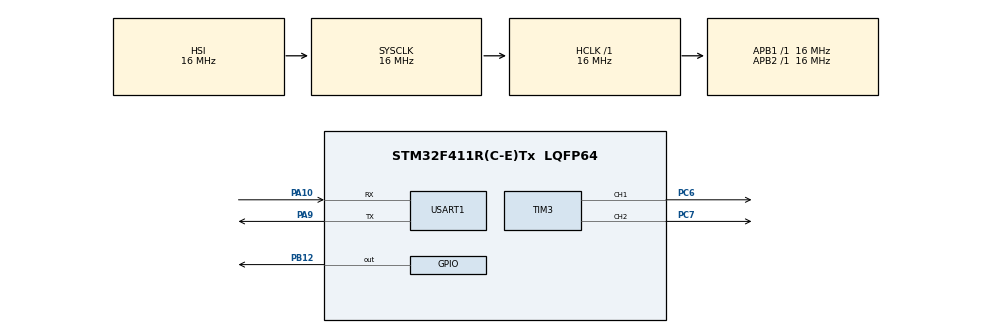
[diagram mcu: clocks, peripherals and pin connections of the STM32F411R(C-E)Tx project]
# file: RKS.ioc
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Mcu.Family=STM32F4
Mcu.Name=STM32F411R(C-E)Tx
Mcu.Package=LQFP64
NVIC.PriorityGroup=NVIC_PRIORITYGROUP_4
NVIC.USART1_IRQn=true\:0\:0\:false\:false\:true\:true\:true\:true
PA10.Mode=Asynchronous
PA10.Signal=USART1_RX
PA9.Mode=Asynchronous
PA9.Signal=USART1_TX
PB12.GPIO_Speed=GPIO_SPEED_FREQ_VERY_HIGH
PB12.Signal=GPIO_Output
PC6.GPIO_Speed=GPIO_SPEED_FREQ_VERY_HIGH
PC6.Signal=S_TIM3_CH1
PC7.GPIO_Speed=GPIO_SPEED_FREQ_VERY_HIGH
PC7.Signal=S_TIM3_CH2
ProjectManager.HeapSize=0x200
ProjectManager.StackSize=0x400
ProjectManager.TargetToolchain=STM32CubeIDE
RCC.AHBFreq_Value=16000000
RCC.APB1Freq_Value=16000000
RCC.APB2Freq_Value=16000000
RCC.CortexFreq_Value=16000000
RCC.HSE_VALUE=25000000
RCC.HSI_VALUE=16000000
RCC.LSE_VALUE=32768
RCC.SYSCLKFreq_VALUE=16000000
RCC.VCOOutputFreq_Value=192000000
SH.S_TIM3_CH1.0=TIM3_CH1,PWM Generation1 CH1
SH.S_TIM3_CH2.0=TIM3_CH2,PWM Generation2 CH2
TIM3.Channel-PWM\ Generation1\ CH1=TIM_CHANNEL_1
TIM3.Channel-PWM\ Generation2\ CH2=TIM_CHANNEL_2
USART1.VirtualMode=VM_ASYNC
VP_TIM3_VS_ClockSourceINT.Mode=Internal
board=custom

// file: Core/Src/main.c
/* USER CODE BEGIN Header */
/**
  ******************************************************************************
  * @file           : main.c
  * @brief          : Main program body
  ******************************************************************************
  * @attention
  *
  * Copyright (c) 2025 STMicroelectronics.
  * All rights reserved.
  *
  * This software is licensed under terms that can be found in the LICENSE file
  * in the root directory of this software component.
  * If no LICENSE file comes with this software, it is provided AS-IS.
  *
  ******************************************************************************
  */
/* USER CODE END Header */
#include "main.h"

/* USER CODE BEGIN Includes */
#include "stdio.h"
#include "stdint.h"

#include "message_handl.h"
#include "circle_buffer.h"
#include "command_handl.h"
/* USER CODE END Includes */

/* USER CODE BEGIN PTD */
typedef struct {
    Package command;
    const char *name;
    uint32_t (*func) (uint8_t *data);
    uint8_t count_byte_answer;
    const char *description;
} StructCommand;
/* USER CODE END PTD */

/* USER CODE BEGIN PM */
#define NUMBER_OF_COMMANDS 6
/* USER CODE END PM */

TIM_HandleTypeDef htim3;

UART_HandleTypeDef huart1;

/* USER CODE BEGIN PV */
uint8_t is_message_start_rec = 0;
uint8_t is_message_stop_rec = 0;
uint8_t data_buffer[512] = {0};
CircleBuffer buffer;
uint16_t data = 0;
/* USER CODE END PV */

void SystemClock_Config(void);
static void MX_GPIO_Init(void);
static void MX_TIM3_Init(void);
static void MX_USART1_UART_Init(void);
/* USER CODE BEGIN PFP */
void HandleRecivedData();
/* USER CODE END PFP */

/* USER CODE BEGIN 0 */
StructCommand commands_array[NUMBER_OF_COMMANDS] = {
    {SETPIN,    "SetPin",   SetPin,     0,  "Setpin 1 if data = 11"},
    {SETPWM50_100, "SetPWM",   SetPWM,  0,  "SetStrobe for 50ms at pin x"},
    {SETPWMX,       "SetPWMX",  SetPWMX,    0,  "SetStrobe for xms at pin x"}
};
/* USER CODE END 0 */

int main(void)
{

  /* MCU Configuration--------------------------------------------------------*/

  /* Reset of all peripherals, Initializes the Flash interface and the Systick. */
   HAL_Init();

  /* Configure the system clock */
  SystemClock_Config();

  /* Initialize all configured peripherals */
  MX_GPIO_Init();
  MX_TIM3_Init();
  MX_USART1_UART_Init();
  /* USER CODE BEGIN 2 */
  //InitMCU();
  ConstructCircleBuffer(&buffer, data_buffer, sizeof(data_buffer) / sizeof(data_buffer[0]));
  /* USER CODE END 2 */

  /* Infinite loop */
  /* USER CODE BEGIN WHILE */
  HAL_UART_Receive_IT(&huart1, (uint8_t*)&data, 1);
  while (1)
  {
	if(is_message_stop_rec)
	{
		is_message_stop_rec = 0;
		HandleRecivedData();
	}
    /* USER CODE END WHILE */

  }
}

void SystemClock_Config(void)
{
  RCC_OscInitTypeDef RCC_OscInitStruct = {0};
  RCC_ClkInitTypeDef RCC_ClkInitStruct = {0};

  /** Configure the main internal regulator output voltage
  */
  __HAL_RCC_PWR_CLK_ENABLE();
  __HAL_PWR_VOLTAGESCALING_CONFIG(PWR_REGULATOR_VOLTAGE_SCALE1);

  /** Initializes the RCC Oscillators according to the specified parameters
  * in the RCC_OscInitTypeDef structure.
  */
  RCC_OscInitStruct.OscillatorType = RCC_OSCILLATORTYPE_HSI;
  RCC_OscInitStruct.HSIState = RCC_HSI_ON;
  RCC_OscInitStruct.HSICalibrationValue = RCC_HSICALIBRATION_DEFAULT;
  RCC_OscInitStruct.PLL.PLLState = RCC_PLL_NONE;
  if (HAL_RCC_OscConfig(&RCC_OscInitStruct) != HAL_OK)
  {
    Error_Handler();
  }

  /** Initializes the CPU, AHB and APB buses clocks
  */
  RCC_ClkInitStruct.ClockType = RCC_CLOCKTYPE_HCLK|RCC_CLOCKTYPE_SYSCLK
                              |RCC_CLOCKTYPE_PCLK1|RCC_CLOCKTYPE_PCLK2;
  RCC_ClkInitStruct.SYSCLKSource = RCC_SYSCLKSOURCE_HSI;
  RCC_ClkInitStruct.AHBCLKDivider = RCC_SYSCLK_DIV1;
  RCC_ClkInitStruct.APB1CLKDivider = RCC_HCLK_DIV1;
  RCC_ClkInitStruct.APB2CLKDivider = RCC_HCLK_DIV1;

  if (HAL_RCC_ClockConfig(&RCC_ClkInitStruct, FLASH_LATENCY_0) != HAL_OK)
  {
    Error_Handler();
  }
}

static void MX_TIM3_Init(void)
{

  TIM_ClockConfigTypeDef sClockSourceConfig = {0};
  TIM_MasterConfigTypeDef sMasterConfig = {0};
  TIM_OC_InitTypeDef sConfigOC = {0};

  htim3.Instance = TIM3;
  htim3.Init.Prescaler = 0;
  htim3.Init.CounterMode = TIM_COUNTERMODE_UP;
  htim3.Init.Period = 65535;
  htim3.Init.ClockDivision = TIM_CLOCKDIVISION_DIV1;
  htim3.Init.AutoReloadPreload = TIM_AUTORELOAD_PRELOAD_DISABLE;
  if (HAL_TIM_Base_Init(&htim3) != HAL_OK)
  {
    Error_Handler();
  }
  sClockSourceConfig.ClockSource = TIM_CLOCKSOURCE_INTERNAL;
  if (HAL_TIM_ConfigClockSource(&htim3, &sClockSourceConfig) != HAL_OK)
  {
    Error_Handler();
  }
  if (HAL_TIM_PWM_Init(&htim3) != HAL_OK)
  {
    Error_Handler();
  }
  sMasterConfig.MasterOutputTrigger = TIM_TRGO_RESET;
  sMasterConfig.MasterSlaveMode = TIM_MASTERSLAVEMODE_DISABLE;
  if (HAL_TIMEx_MasterConfigSynchronization(&htim3, &sMasterConfig) != HAL_OK)
  {
    Error_Handler();
  }
  sConfigOC.OCMode = TIM_OCMODE_PWM1;
  sConfigOC.Pulse = 0x7FFF;
  sConfigOC.OCPolarity = TIM_OCPOLARITY_HIGH;
  sConfigOC.OCFastMode = TIM_OCFAST_DISABLE;
  if (HAL_TIM_PWM_ConfigChannel(&htim3, &sConfigOC, TIM_CHANNEL_1) != HAL_OK)
  {
    Error_Handler();
  }
  if (HAL_TIM_PWM_ConfigChannel(&htim3, &sConfigOC, TIM_CHANNEL_2) != HAL_OK)
  {
    Error_Handler();
  }
  /* USER CODE BEGIN TIM3_Init 2 */
  HAL_TIM_Base_MspInit(&htim3);
  /* USER CODE END TIM3_Init 2 */
  HAL_TIM_MspPostInit(&htim3);

}

static void MX_USART1_UART_Init(void)
{

  huart1.Instance = USART1;
  huart1.Init.BaudRate = 115200;
  huart1.Init.WordLength = UART_WORDLENGTH_8B;
  huart1.Init.StopBits = UART_STOPBITS_1;
  huart1.Init.Parity = UART_PARITY_NONE;
  huart1.Init.Mode = UART_MODE_TX_RX;
  huart1.Init.HwFlowCtl = UART_HWCONTROL_NONE;
  huart1.Init.OverSampling = UART_OVERSAMPLING_16;
  if (HAL_UART_Init(&huart1) != HAL_OK)
  {
    Error_Handler();
  }
  /* USER CODE BEGIN USART1_Init 2 */
  HAL_UART_MspInit(&huart1);
  /* USER CODE END USART1_Init 2 */

}

static void MX_GPIO_Init(void)
{
  GPIO_InitTypeDef GPIO_InitStruct = {0};

  /* GPIO Ports Clock Enable */
  __HAL_RCC_GPIOB_CLK_ENABLE();
  __HAL_RCC_GPIOC_CLK_ENABLE();
  __HAL_RCC_GPIOA_CLK_ENABLE();

  /*Configure GPIO pin Output Level */
  HAL_GPIO_WritePin(GPIOB, GPIO_PIN_12, GPIO_PIN_RESET);

  /*Configure GPIO pin : PB12 */
  GPIO_InitStruct.Pin = GPIO_PIN_12;
  GPIO_InitStruct.Mode = GPIO_MODE_OUTPUT_PP;
  GPIO_InitStruct.Pull = GPIO_NOPULL;
  GPIO_InitStruct.Speed = GPIO_SPEED_FREQ_VERY_HIGH;
  HAL_GPIO_Init(GPIOB, &GPIO_InitStruct);

}

/* USER CODE BEGIN 4 */
void HandleRecivedData()
{
	Message msg;
	uint8_t data_handl[6] = {0};
	for(int i = 0; i < 6; ++i)
	{
		PopDataCircleBuffer(&buffer, &data_handl[i]);
	}
	if(!ParseAndCheckData(data_handl, &msg))
	{
		for(int i = 0; i < NUMBER_OF_COMMANDS; ++i)
		{
			if(commands_array[i].command == msg.pack)
			{
				commands_array[i].func(&(msg.data));
			}
		}
	}
}

void HAL_UART_RxCpltCallback(UART_HandleTypeDef *huart)
{
	if(huart == &huart1)
	{
		if(!is_message_start_rec)
		{
			is_message_stop_rec = 0;
			if(data == 0xA1)
			{
				data = data << 8;
			}
			else if (data == 0xA1A2)
			{
				is_message_start_rec = 1;
				PushDataCircleBuffer(&buffer, (data >> 8));
				PushDataCircleBuffer(&buffer, data);
				data = 0;
			}
			else
			{
				data = 0;
			}
		}
		else if(!is_message_stop_rec)
		{
			PushDataCircleBuffer(&buffer, data);
			if(GetDataSizeCircleBuffer(&buffer) % 6 == 0)
			{
				is_message_stop_rec = 1;
				is_message_start_rec = 0;
			}
		}
		HAL_UART_Receive_IT(&huart1, (uint8_t*)&data, 1);
	}
}
/* USER CODE END 4 */

void Error_Handler(void)
{
  __disable_irq();
  while (1)
  {
  }
}
